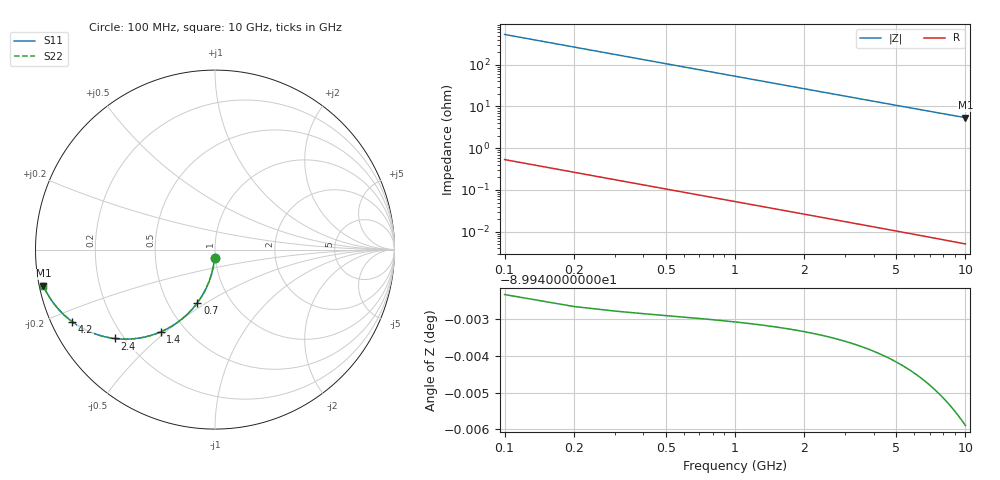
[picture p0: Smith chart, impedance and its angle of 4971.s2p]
# Hz S RI R 50.00
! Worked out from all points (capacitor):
!   100 points, 100 MHz to 10 GHz, reference 50 ohm
!   read as one part in shunt: C = 3 pF near 100 MHz
!   lowest |Z| = 5.4 ohm at 10 GHz (marker M1)
!   S11 on the Smith chart (normalised r, x): 100 MHz: 0.99, -0.09; 700 MHz: 0.70, -0.46; 1.4 GHz: 0.37, -0.48; 2.4 GHz: 0.16, -0.37; 4.2 GHz: 0.06, -0.24; 10 GHz: 0.01, -0.10
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1e8  -0.00224 -0.0469  0.9977 -0.047  0.9977 -0.047  -0.00224 -0.0469
2e8  -0.00886 -0.0932  0.9911 -0.0933  0.9911 -0.0933  -0.00886 -0.0932
3e8  -0.0197 -0.1383  0.9803 -0.1384  0.9803 -0.1384  -0.0197 -0.1383
4e8  -0.0344 -0.1816  0.9656 -0.1818  0.9656 -0.1818  -0.0344 -0.1816
5e8  -0.0526 -0.2227  0.9474 -0.2229  0.9474 -0.2229  -0.0526 -0.2227
6e8  -0.074 -0.2611  0.926 -0.2615  0.926 -0.2615  -0.074 -0.2611
7e8  -0.098 -0.2967  0.9019 -0.2971  0.9019 -0.2971  -0.098 -0.2967
8e8  -0.1243 -0.3292  0.8757 -0.3296  0.8757 -0.3296  -0.1243 -0.3292
1e9  -0.1814 -0.3846  0.8186 -0.3851  0.8186 -0.3851  -0.1814 -0.3846
1.2e9  -0.2418 -0.4273  0.7582 -0.428  0.7582 -0.428  -0.2418 -0.4273
1.4e9  -0.3025 -0.4585  0.6975 -0.4592  0.6975 -0.4592  -0.3025 -0.4585
1.8e9  -0.4173 -0.4921  0.5826 -0.4931  0.5826 -0.4931  -0.4173 -0.4921
2.1e9  -0.4935 -0.4989  0.5065 -0.5  0.5065 -0.5  -0.4935 -0.4989
2.4e9  -0.5598 -0.4952  0.4402 -0.4966  0.4402 -0.4966  -0.5598 -0.4952
2.9e9  -0.6497 -0.4757  0.3503 -0.4774  0.3503 -0.4774  -0.6497 -0.4757
3.4e9  -0.7181 -0.4485  0.2819 -0.4504  0.2819 -0.4504  -0.7181 -0.4485
4.2e9  -0.7951 -0.4019  0.2049 -0.4043  0.2049 -0.4043  -0.7951 -0.4019
5.1e9  -0.851 -0.3541  0.1489 -0.357  0.1489 -0.357  -0.851 -0.3541
5.8e9  -0.8807 -0.322  0.1193 -0.3253  0.1193 -0.3253  -0.8807 -0.322
6.7e9  -0.9077 -0.287  0.0922 -0.2908  0.0922 -0.2908  -0.9077 -0.287
8.4e9  -0.9392 -0.2361  0.0608 -0.2409  0.0608 -0.2409  -0.9392 -0.2361
1e10  -0.9563 -0.2011  0.0437 -0.2068  0.0437 -0.2068  -0.9563 -0.2011
